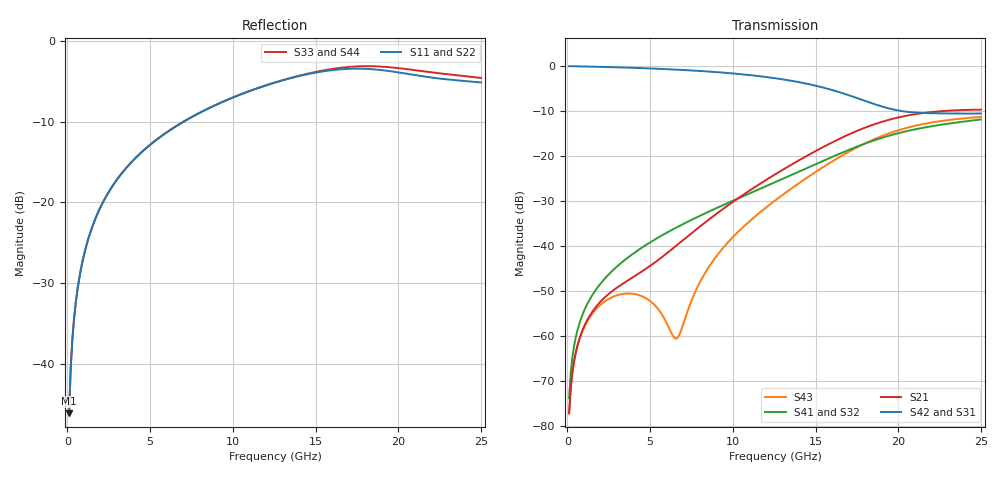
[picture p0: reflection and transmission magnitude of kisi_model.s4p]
! kisi E_s8_L1L3_p800_round_g2: fast channel model (formula impedances, via model), up to 25 GHz
# Hz S RI R 50
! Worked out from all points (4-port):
!   250 points, 100 MHz to 25 GHz, reference 50 ohm
!   strongest paths, dB at 100 MHz, 6.3 GHz, 12.6 GHz, 18.8 GHz, 25 GHz:
!     S42: 0.0, -0.7, -2.7, -8.7, -10.5
!     S31: 0.0, -0.7, -2.7, -8.7, -10.5
!     S21: -77.3, -40.8, -24.0, -12.6, -9.7
!     S41: -73.9, -36.5, -25.8, -16.2, -11.9
!     S32: -73.9, -36.5, -25.8, -16.2, -11.9
!     S43: -77.3, -59.5, -29.8, -15.9, -11.3
!   lowest |S11| = -46.1 dB at 100 MHz (marker M1), VSWR 1.01, Z = 50.1 - j0.484 ohm
!   |S11| at or under -10 dB: start of sweep to 7.037 GHz
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1e8  0.00111 -0.00483  8.35e-06 0.000137  0.9972 -0.038  -1.57e-05 -0.000201
     8.35e-06 0.000137  0.00111 -0.00483  -1.57e-05 -0.000201  0.9972 -0.038
     0.9972 -0.038  -1.57e-05 -0.000201  0.0011 -0.00483  1.14e-05 0.000137
     -1.57e-05 -0.000201  0.9972 -0.038  1.14e-05 0.000137  0.0011 -0.00483
1.8e9  -0.051 -0.0672  0.000808 0.00202  0.7757 -0.6037  -0.00209 -0.0027
       0.000808 0.00202  -0.051 -0.0672  -0.00209 -0.0027  0.7757 -0.6037
       0.7757 -0.6037  -0.00209 -0.0027  -0.0537 -0.0652  0.0014 0.00149
       -0.00209 -0.0027  0.7757 -0.6037  0.0014 0.00149  -0.0537 -0.0652
8.1e9  -0.1039 0.3476  0.0156 0.00659  -0.8624 -0.177  -0.000414 0.022
       0.0156 0.00659  -0.1039 0.3476  -0.000414 0.022  -0.8624 -0.177
       -0.8624 -0.177  -0.000414 0.022  -0.0224 0.3633  0.0026 0.00336
       -0.000414 0.022  -0.8624 -0.177  0.0026 0.00336  -0.0224 0.3633
1.21e10  0.4788 0.2369  0.0356 -0.0424  -0.2311 0.7163  0.0452 -0.0126
         0.0356 -0.0424  0.4788 0.2369  0.0452 -0.0126  -0.2311 0.7163
         -0.2311 0.7163  0.0452 -0.0126  0.5326 0.0453  0.0195 -0.0195
         0.0452 -0.0126  -0.2311 0.7163  0.0195 -0.0195  0.5326 0.0453
1.64e10  0.2745 -0.606  -0.1391 -0.0655  0.4852 0.174  -0.0896 -0.0545
         -0.1391 -0.0655  0.2745 -0.606  -0.0896 -0.0545  0.4852 0.174
         0.4852 0.174  -0.0896 -0.0545  -0.0651 -0.676  -0.0957 -0.00814
         -0.0896 -0.0545  0.4852 0.174  -0.0957 -0.00814  -0.0651 -0.676
2.01e10  -0.5274 -0.3549  -0.0341 0.2687  0.2655 -0.1759  0.0276 0.179
         -0.0341 0.2687  -0.5274 -0.3549  0.0276 0.179  0.2655 -0.1759
         0.2655 -0.1759  0.0276 0.179  -0.6753 0.0396  0.0973 0.1694
         0.0276 0.179  0.2655 -0.1759  0.0973 0.1694  -0.6753 0.0396
2.5e10  -0.2647 0.4853  0.2245 -0.2383  -0.00792 -0.2971  0.0224 -0.2536
        0.2245 -0.2383  -0.2647 0.4853  0.0224 -0.2536  -0.00792 -0.2971
        -0.00792 -0.2971  0.0224 -0.2536  0.1927 0.5569  -0.0553 -0.266
        0.0224 -0.2536  -0.00792 -0.2971  -0.0553 -0.266  0.1927 0.5569
